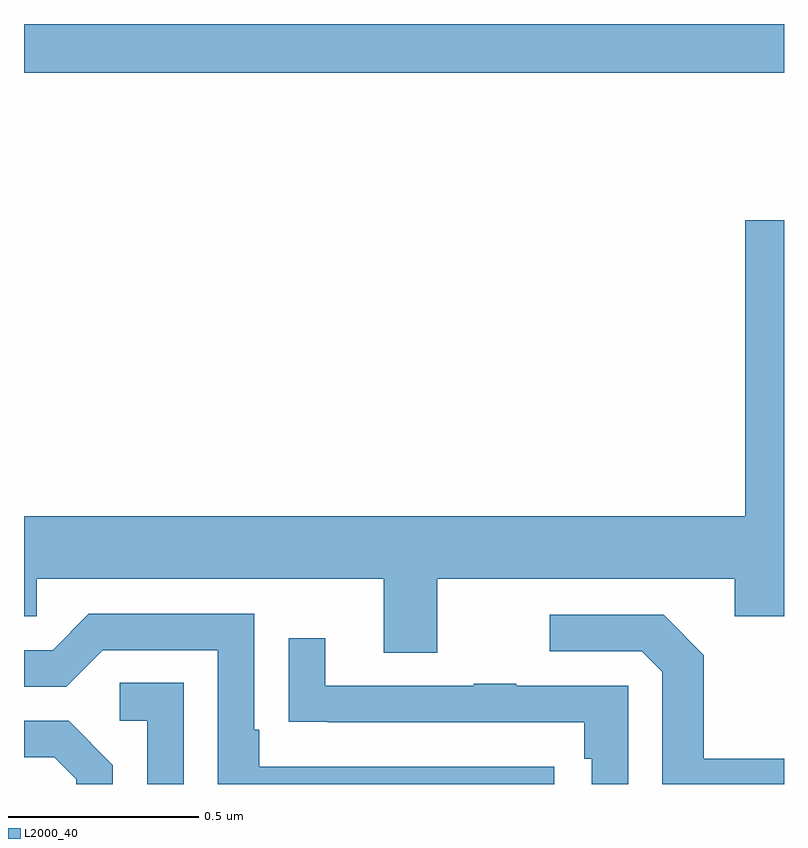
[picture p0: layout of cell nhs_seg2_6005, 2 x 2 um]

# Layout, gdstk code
import gdstk
lib = gdstk.Library(unit=1e-6, precision=1e-09)
def R(c, l, rs):  # rectangles x0, y0, x1, y1
    for r in rs: c.add(gdstk.rectangle(r[:2], r[2:], *l))
def P(c, l, *ps):  # polygons
    for p in ps: c.add(gdstk.Polygon(p, *l))
L2000_40 = (2000, 40)

nhs_seg2_6005 = lib.new_cell('nhs_seg2_6005')
R(nhs_seg2_6005, L2000_40, [(186,611.672,188,611.8)])
P(nhs_seg2_6005, L2000_40, [(187.087,610.34),(187.871,610.34),(187.871,610.241),(188,610.241),(188,611.283),(187.898,611.283),(187.898,610.504),(186,610.504),(186,610.242),(186.033,610.242),(186.033,610.34),(186.947,610.34),(186.947,610.146),(187.087,610.146)],
  [(187.396,609.846),(186.619,609.846),(186.619,609.943),(186.606,609.943),(186.606,610.248),(186.171,610.248),(186.075,610.152),(186,610.152),(186,610.056),(186.111,610.056),(186.207,610.152),(186.51,610.152),(186.51,609.8),(187.396,609.8)],
  [(188,609.867),(187.789,609.867),(187.789,610.139),(187.683,610.245),(187.383,610.245),(187.383,610.149),(187.626,610.149),(187.68,610.095),(187.68,609.8),(188,609.8)],
  [(187.59,610.059),(187.295,610.059),(187.295,610.064),(187.183,610.064),(187.183,610.059),(186.793,610.059),(186.793,610.183),(186.697,610.183),(186.697,609.964),(186.799,609.964),(186.799,609.963),(187.474,609.963),(187.474,609.866),(187.494,609.866),(187.494,609.8),(187.59,609.8)],
  [(186.42,610.067),(186.252,610.067),(186.252,609.966),(186.324,609.966),(186.324,609.8),(186.42,609.8)],
  [(186.234,609.85),(186.118,609.966),(186,609.966),(186,609.87),(186.08,609.87),(186.137,609.813),(186.137,609.8),(186.234,609.8)])

lib.write_gds('nhs_seg2_6005.gds')
